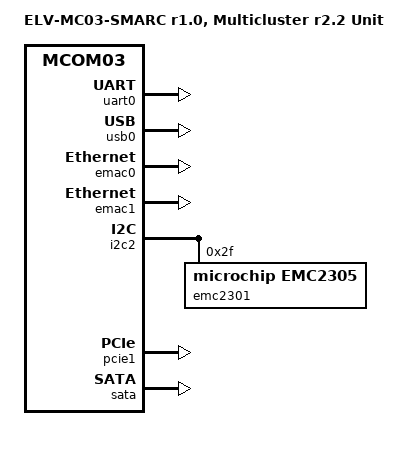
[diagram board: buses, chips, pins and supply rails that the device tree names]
// SPDX-License-Identifier: GPL-2.0+
// Copyright 2025 RnD Center "ELVEES", JSC

/dts-v1/;

#include <dt-bindings/gpio/gpio.h>

#include "mcom03-elvmc03smarc-r1.0.dtsi"

/ {
	model = "ELV-MC03-SMARC r1.0, Multicluster r2.2 Unit";
	compatible = "elvees,elvmc03smarc-r1.0-multicluster-r2.2-unit",
			"elvees,elvmc03smarc-r1.0-multicluster-r2.2",
			"elvees,elvmc03smarc-multicluster",
			"elvees,multicluster-r2.2",
			"elvees,multicluster",
			"elvees,elvmc03smarc-r1.0",
			"elvees,elvmc03smarc",
			"elvees,mcom03";

	chosen {
		stdout-path = "serial0:115200n8";
	};
};

&uart0 {
	status = "okay";
};

/* Connected to USB 3.0 Type-C */
&usb0 {
	status = "okay";
};

/* Connected to RJ-45 */
&emac0 {
	status = "okay";
};
&emac1 {
	status = "okay";
};

&i2c2 {
	emc2301@2f {
		compatible = "microchip,emc2305";
		reg = <0x2f>;
	};
};

&pcie1 {
	status = "okay";
};

&sata {
	status = "okay";
};
